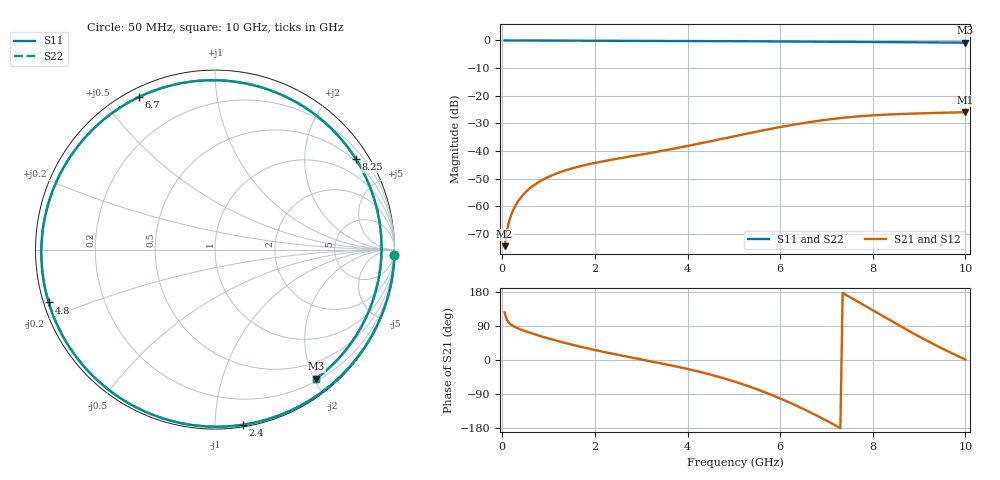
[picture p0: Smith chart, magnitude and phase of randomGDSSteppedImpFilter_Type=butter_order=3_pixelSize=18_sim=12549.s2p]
! freq	dB(S11)	phase(S11)	dB(S12)	phase(S12)
!  dB(S21)	phase(S21)	dB(S22)	phase(S22)
!S-par simulation data
#  GHz  S  DB  R 50
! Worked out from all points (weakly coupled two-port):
!   200 points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, 50 MHz to 10 GHz, reference 50 ohm
!   highest |S21| = -25.95 dB at 10 GHz (marker M1); lowest = -74.4 dB at 50 MHz (marker M2)
!   lowest |S11| = -0.8 dB at 10 GHz (marker M3), VSWR 22.13, Z = 11.7 - j102 ohm
!   |S11| at or under -10 dB: nowhere
!   |S22| runs from -0.8 to 0.0 dB; largest |S21 - S12| = 0
!   S11 on the Smith chart (normalised r, x): 50 MHz: 0, -66; 2.4 GHz: 0.01, -1.17; 4.8 GHz: 0.01, -0.16; 6.7 GHz: 0.04, +0.62; 8.25 GHz: 0.43, +3.36; 10 GHz: 0.23, -2.03
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0.05  -0.00 -1.7  -74.37 125.7  -74.37 125.7  -0.00 -1.7
0.1  -0.00 -3.5  -68.65 105.6  -68.65 105.6  -0.00 -3.5
0.2  -0.00 -6.9  -62.73 92.4  -62.73 92.4  -0.00 -6.9
0.5  -0.01 -17.3  -54.92 75.8  -54.92 75.8  -0.01 -17.3
1  -0.04 -34.3  -49.29 56.8  -49.29 56.8  -0.04 -34.3
1.75  -0.08 -59.5  -45.20 33.3  -45.20 33.3  -0.08 -59.5
2.4  -0.10 -81.0  -43.00 16.1  -43.00 16.1  -0.10 -81.0
3.4  -0.15 -114.0  -40.06 -8.1  -40.06 -8.1  -0.15 -114.0
4.05  -0.19 -135.8  -37.98 -25.0  -37.98 -25.0  -0.19 -135.9
4.8  -0.24 -162.4  -35.36 -48.9  -35.36 -48.9  -0.24 -162.4
5.05  -0.27 -171.7  -34.48 -58.4  -34.48 -58.4  -0.27 -171.7
5.9  -0.35 153.8  -31.62 -96.4  -31.62 -96.4  -0.35 153.8
6.7  -0.45 116.4  -29.36 -141.0  -29.36 -141.0  -0.45 116.3
7.1  -0.49 95.8  -28.45 -166.4  -28.45 -166.4  -0.49 95.7
7.45  -0.53 76.9  -27.81 169.9  -27.81 169.9  -0.53 76.8
7.85  -0.57 54.8  -27.24 141.8  -27.24 141.8  -0.57 54.7
8.25  -0.60 32.7  -26.84 113.4  -26.84 113.4  -0.60 32.6
8.35  -0.61 27.3  -26.76 106.4  -26.76 106.4  -0.61 27.2
8.7  -0.64 8.6  -26.53 82.1  -26.53 82.1  -0.64 8.5
9.1  -0.67 -11.6  -26.32 55.5  -26.32 55.5  -0.67 -11.7
9.55  -0.72 -32.7  -26.11 27.3  -26.11 27.3  -0.72 -32.8
10  -0.79 -51.9  -25.95 1.1  -25.95 1.1  -0.79 -52.0
